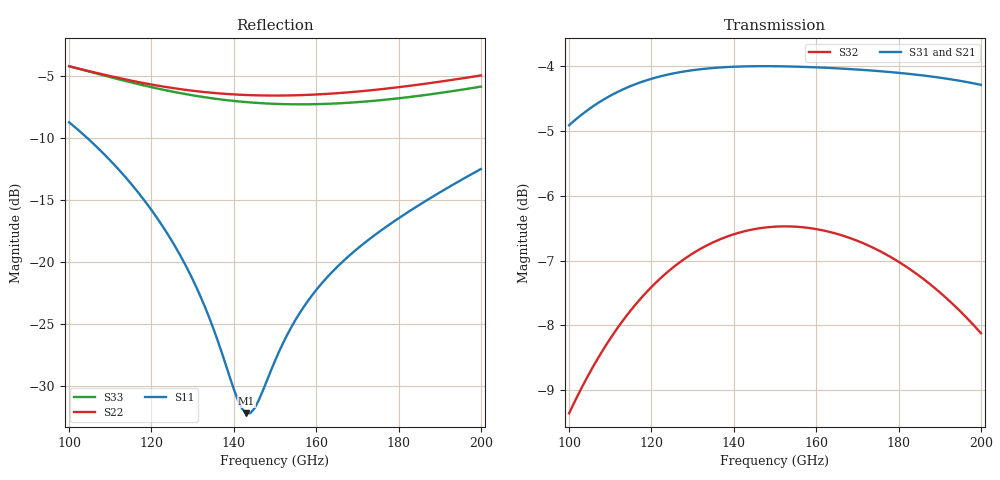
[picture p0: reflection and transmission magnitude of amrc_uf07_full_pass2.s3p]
! Created with skrf 2.1.0 (http://scikit-rf.org).
# GHz S DB R 50.0
! Port[1] = P1
! Port[2] = P2
! Port[3] = P3
!freq dBS11 angS11 dBS12 angS12 dBS13 angS13
! dBS21 angS21 dBS22 angS22 dBS23 angS23
! dBS31 angS31 dBS32 angS32 dBS33 angS33
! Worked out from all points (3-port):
!   101 points, 100 GHz to 200 GHz, reference 50 ohm
!   strongest paths, dB at 100 GHz, 125 GHz, 150 GHz, 175 GHz, 200 GHz:
!     S31: -4.9, -4.1, -4.0, -4.1, -4.3
!     S21: -4.6, -4.0, -4.0, -4.3, -4.7
!     S32: -9.4, -7.1, -6.5, -6.8, -8.1
!   lowest |S11| = -32.2 dB at 143 GHz (marker M1), VSWR 1.05, Z = 47.7 + j0.69 ohm
!   |S11| at or under -10 dB: 104.5 GHz to end of sweep
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100  -8.70 129.7  -4.65 -12.0  -4.91 164.1
     -4.65 -12.0  -4.18 60.0  -9.36 90.5
     -4.91 164.1  -9.36 90.5  -4.17 49.9
114  -13.25 112.8  -4.15 -33.7  -4.33 141.1
     -4.15 -33.7  -5.26 47.4  -7.85 69.1
     -4.33 141.1  -7.85 69.1  -5.39 35.1
125  -18.30 105.3  -4.00 -49.5  -4.11 124.4
     -4.00 -49.5  -5.93 38.8  -7.12 53.4
     -4.11 124.4  -7.12 53.4  -6.22 25.1
132  -22.83 106.8  -3.97 -58.9  -4.04 114.3
     -3.97 -58.9  -6.23 33.8  -6.81 43.8
     -4.04 114.3  -6.81 43.8  -6.63 19.4
143  -32.19 162.9  -3.98 -73.1  -4.00 99.3
     -3.98 -73.1  -6.50 26.1  -6.54 29.5
     -4.00 99.3  -6.54 29.5  -7.07 10.9
145  -31.80 -175.0  -3.99 -75.6  -4.00 96.6
     -3.99 -75.6  -6.52 24.6  -6.51 27.0
     -4.00 96.6  -6.51 27.0  -7.12 9.4
150  -27.96 -143.6  -4.02 -81.8  -4.00 90.0
     -4.02 -81.8  -6.54 21.1  -6.48 20.8
     -4.00 90.0  -6.48 20.8  -7.21 5.7
157  -23.59 -131.3  -4.07 -90.3  -4.01 81.0
     -4.07 -90.3  -6.50 15.9  -6.49 12.2
     -4.01 81.0  -6.49 12.2  -7.25 0.4
167  -19.78 -127.7  -4.17 -102.2  -4.04 68.4
     -4.17 -102.2  -6.31 8.1  -6.63 0.3
     -4.04 68.4  -6.63 0.3  -7.14 -7.3
200  -12.48 -135.9  -4.73 -141.8  -4.29 26.8
     -4.73 -141.8  -4.92 -21.1  -8.12 -38.4
     -4.29 26.8  -8.12 -38.4  -5.82 -35.6
